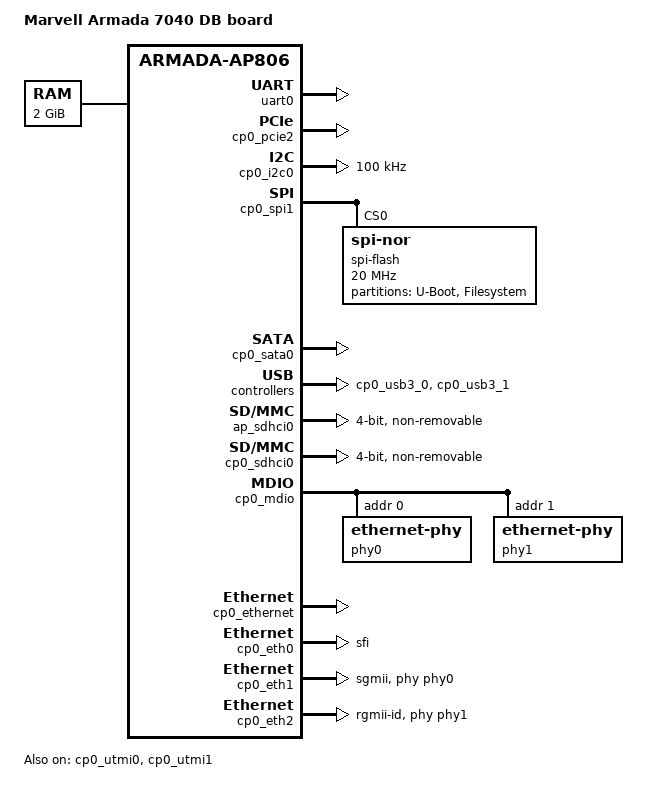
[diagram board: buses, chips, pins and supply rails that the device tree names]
// SPDX-License-Identifier: GPL-2.0+
/*
 * Copyright (C) 2016- 2021 Marvell International Ltd.
 */

/*
 * Device Tree file for Marvell Armada 7040 Development board platform
 * Boot device: SPI NOR, 0x32 (SW3)
 */

#include "armada-7040.dtsi"

/ {
	model = "Marvell Armada 7040 DB board";
	compatible = "marvell,armada7040-db", "marvell,armada7040",
		     "marvell,armada-ap806-quad", "marvell,armada-ap806";

	chosen {
		stdout-path = "serial0:115200n8";
	};

	aliases {
		i2c0 = &cp0_i2c0;
		spi0 = &cp0_spi1;
	};

	memory@00000000 {
		device_type = "memory";
		reg = <0x0 0x0 0x0 0x80000000>;
	};
};

&ap_pinctl {
	   /* MPP Bus:
	    * SDIO  [0-5]
	    * UART0 [11,19]
	    */
		  /* 0 1 2 3 4 5 6 7 8 9 */
	pin-func = < 1 1 1 1 1 1 0 0 0 0
		     0 3 0 0 0 0 0 0 0 3 >;
};

&uart0 {
	status = "okay";
};


&cp0_pcie2 {
	status = "okay";
};

&cp0_i2c0 {
	pinctrl-names = "default";
	pinctrl-0 = <&cp0_i2c0_pins>;
	status = "okay";
	clock-frequency = <100000>;
};

&cp0_pinctl {
		/* MPP Bus:
		 * TDM	 [0-11]
		 * SPI   [13-16]
		 * SATA1 [28]
		 * UART0 [29-30]
		 * SMI	 [32,34]
		 * XSMI  [35-36]
		 * I2C	 [37-38]
		 * RGMII1[44-55]
		 * SD	 [56-62]
		 */
		/*   0   1   2   3   4   5   6   7   8   9 */
	pin-func = < 4   4   4   4   4   4   4   4   4   4
		     4   4   0   3   3   3   3   0   0   0
		     0   0   0   0   0   0   0   0   9   0xA
		     0xA 0   7   0   7   7   7   2   2   0
		     0   0   0   0   1   1   1   1   1   1
		     1   1   1   1   1   1   0xE 0xE 0xE 0xE
		     0xE 0xE 0xE >;
};

&cp0_spi1 {
	pinctrl-names = "default";
	pinctrl-0 = <&cp0_spi0_pins>;
	status = "okay";

	spi-flash@0 {
		#address-cells = <0x1>;
		#size-cells = <0x1>;
		compatible = "jedec,spi-nor";
		reg = <0x0>;
		spi-max-frequency = <20000000>;

		partitions {
			compatible = "fixed-partitions";
			#address-cells = <1>;
			#size-cells = <1>;

			partition@0 {
				label = "U-Boot";
				reg = <0x0 0x200000>;
			};

			partition@400000 {
				label = "Filesystem";
				reg = <0x200000 0xe00000>;
			};
		};
	};
};

&cp0_sata0 {
	status = "okay";
};

&cp0_usb3_0 {
	status = "okay";
};

&cp0_usb3_1 {
	status = "okay";
};

&cp0_comphy {
	phy0 {
		phy-type = <COMPHY_TYPE_SGMII1>;
		phy-speed = <COMPHY_SPEED_1_25G>;
	};

	phy1 {
		phy-type = <COMPHY_TYPE_USB3_HOST0>;
		phy-speed = <COMPHY_SPEED_5G>;
	};

	phy2 {
		phy-type = <COMPHY_TYPE_SFI0>;
		phy-speed = <COMPHY_SPEED_10_3125G>;
	};

	phy3 {
		phy-type = <COMPHY_TYPE_SATA1>;
		phy-speed = <COMPHY_SPEED_5G>;
	};

	phy4 {
		phy-type = <COMPHY_TYPE_USB3_HOST1>;
		phy-speed = <COMPHY_SPEED_5G>;
	};

	phy5 {
		phy-type = <COMPHY_TYPE_PEX2>;
		phy-speed = <COMPHY_SPEED_5G>;
	};
};

&cp0_utmi0 {
	status = "okay";
};

&cp0_utmi1 {
	status = "okay";
};

&ap_sdhci0 {
	status = "okay";
	bus-width = <4>;
	no-1-8-v;
	non-removable;
};

&cp0_sdhci0 {
	status = "okay";
	bus-width = <4>;
	no-1-8-v;
	non-removable;
};

&cp0_mdio {
	status = "okay";
	phy0: ethernet-phy@0 {
		reg = <0>;
	};
	phy1: ethernet-phy@1 {
		reg = <1>;
	};
};

&cp0_ethernet {
	status = "okay";
};

&cp0_eth0 {
	status = "okay";
	phy-mode = "sfi"; /* lane-2 */
};

&cp0_eth1 {
	status = "okay";
	phy = <&phy0>;
	phy-mode = "sgmii";
};

&cp0_eth2 {
	status = "okay";
	phy = <&phy1>;
	phy-mode = "rgmii-id";
};
